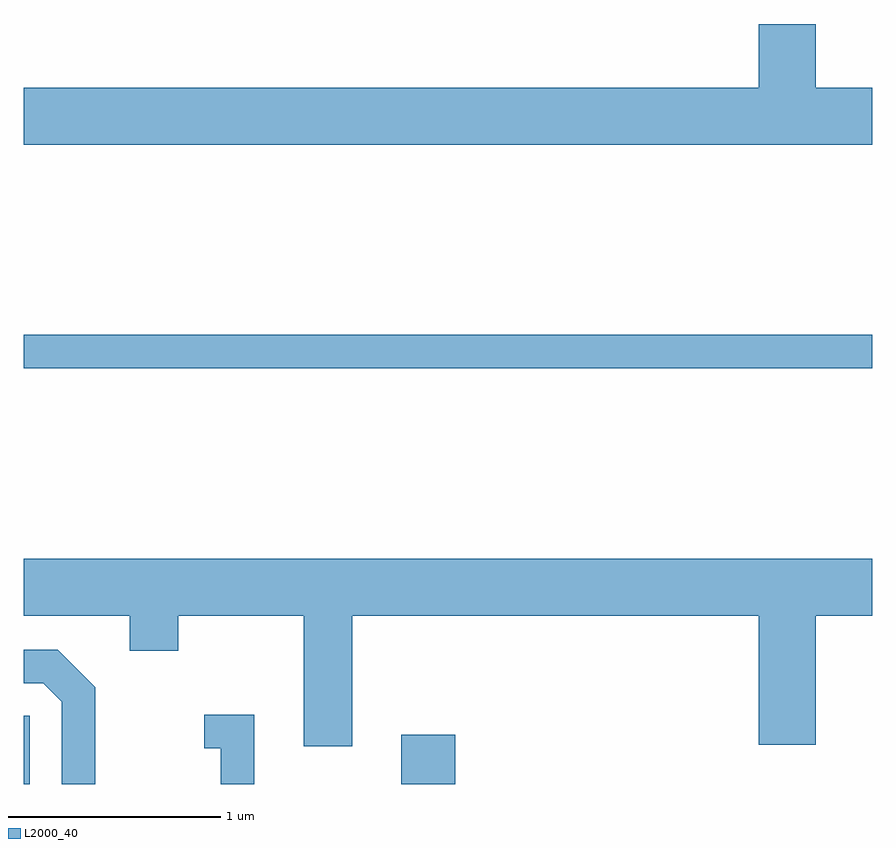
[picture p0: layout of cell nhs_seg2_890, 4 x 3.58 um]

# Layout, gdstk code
import gdstk
lib = gdstk.Library(unit=1e-6, precision=1e-09)
def R(c, l, rs):  # rectangles x0, y0, x1, y1
    for r in rs: c.add(gdstk.rectangle(r[:2], r[2:], *l))
def P(c, l, *ps):  # polygons
    for p in ps: c.add(gdstk.Polygon(p, *l))
L2000_40 = (2000, 40)

nhs_seg2_890 = lib.new_cell('nhs_seg2_890')
R(nhs_seg2_890, L2000_40, [(211.611,989.802,211.639,990.124), (213.391,989.802,213.644,990.034), (211.611,991.761,215.611,991.919)])
P(nhs_seg2_890, L2000_40, [(215.611,993.084),(215.344,993.084),(215.344,993.384),(215.076,993.384),(215.076,993.084),(211.611,993.084),(211.611,992.816),(215.611,992.816)],
  [(213.159,990.596),(215.076,990.596),(215.076,989.986),(215.344,989.986),(215.344,990.596),(215.611,990.596),(215.611,990.864),(211.611,990.864),(211.611,990.596),(212.111,990.596),(212.111,990.431),(212.339,990.431),(212.339,990.596),(212.931,990.596),(212.931,989.981),(213.159,989.981)],
  [(211.949,990.257),(211.772,990.434),(211.611,990.434),(211.611,990.276),(211.704,990.276),(211.791,990.189),(211.791,989.802),(211.949,989.802)],
  [(212.699,990.129),(212.463,990.129),(212.463,989.971),(212.541,989.971),(212.541,989.802),(212.699,989.802)])

lib.write_gds('nhs_seg2_890.gds')
